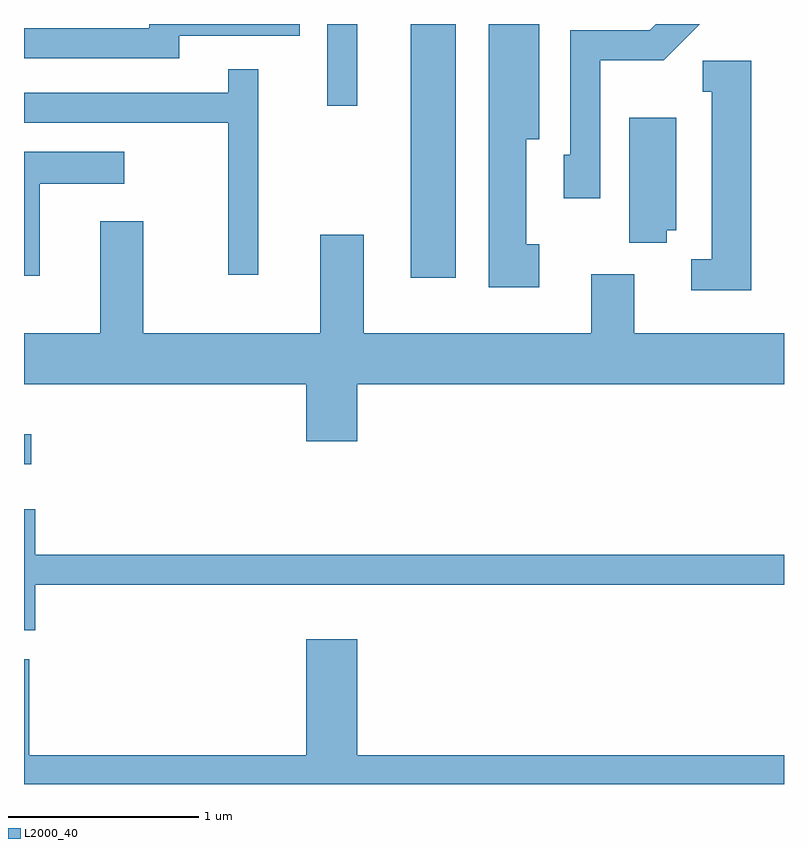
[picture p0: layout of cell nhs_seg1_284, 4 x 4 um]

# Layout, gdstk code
import gdstk
lib = gdstk.Library(unit=1e-6, precision=1e-09)
def R(c, l, rs):  # rectangles x0, y0, x1, y1
    for r in rs: c.add(gdstk.rectangle(r[:2], r[2:], *l))
def P(c, l, *ps):  # polygons
    for p in ps: c.add(gdstk.Polygon(p, *l))
L2000_40 = (2000, 40)

nhs_seg1_284 = lib.new_cell('nhs_seg1_284')
R(nhs_seg1_284, L2000_40, [(193.611,881.396,193.648,881.554), (195.646,882.376,195.884,883.712), (195.206,883.283,195.364,883.712)])
P(nhs_seg1_284, L2000_40, [(196.324,882.554),(196.254,882.554),(196.254,883.106),(196.324,883.106),(196.324,883.712),(196.056,883.712),(196.056,882.326),(196.324,882.326)],
  [(196.644,883.521),(196.977,883.521),(197.168,883.712),(196.937,883.712),(196.904,883.679),(196.486,883.679),(196.486,883.024),(196.451,883.024),(196.451,882.796),(196.644,882.796)],
  [(194.429,883.651),(195.063,883.651),(195.063,883.712),(194.271,883.712),(194.271,883.689),(193.611,883.689),(193.611,883.531),(194.429,883.531)],
  [(197.439,883.519),(197.183,883.519),(197.183,883.356),(197.231,883.356),(197.231,882.474),(197.123,882.474),(197.123,882.311),(197.439,882.311)],
  [(194.844,883.473),(194.686,883.473),(194.686,883.349),(193.611,883.349),(193.611,883.191),(194.686,883.191),(194.686,882.393),(194.844,882.393)],
  [(196.994,882.626),(197.044,882.626),(197.044,883.219),(196.796,883.219),(196.796,882.561),(196.994,882.561)],
  [(193.694,882.871),(194.138,882.871),(194.138,883.039),(193.611,883.039),(193.611,882.386),(193.694,882.386)],
  [(195.364,881.816),(197.611,881.816),(197.611,882.084),(196.824,882.084),(196.824,882.394),(196.596,882.394),(196.596,882.084),(195.399,882.084),(195.399,882.604),(195.171,882.604),(195.171,882.084),(194.239,882.084),(194.239,882.674),(194.011,882.674),(194.011,882.084),(193.611,882.084),(193.611,881.816),(195.096,881.816),(195.096,881.516),(195.364,881.516)],
  [(193.669,880.761),(197.611,880.761),(197.611,880.919),(193.669,880.919),(193.669,881.159),(193.611,881.159),(193.611,880.521),(193.669,880.521)],
  [(197.611,879.864),(195.364,879.864),(195.364,880.474),(195.096,880.474),(195.096,879.864),(193.639,879.864),(193.639,880.369),(193.611,880.369),(193.611,879.712),(197.611,879.712)])

lib.write_gds('nhs_seg1_284.gds')
